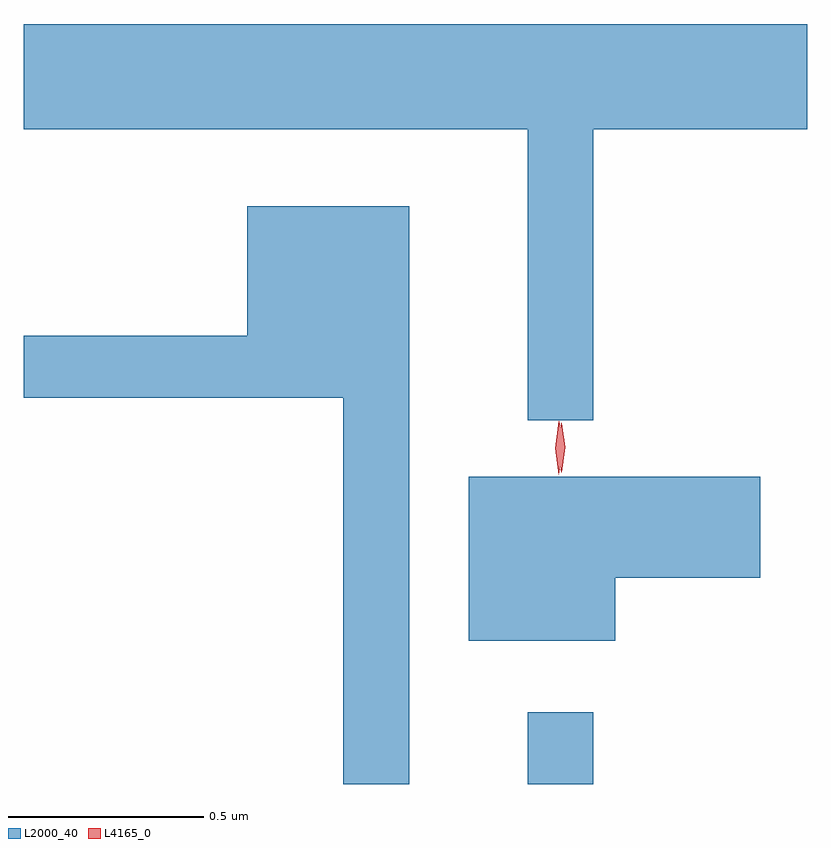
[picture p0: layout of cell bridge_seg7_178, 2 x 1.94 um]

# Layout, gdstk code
import gdstk
lib = gdstk.Library(unit=1e-6, precision=1e-09)
def R(c, l, rs):  # rectangles x0, y0, x1, y1
    for r in rs: c.add(gdstk.rectangle(r[:2], r[2:], *l))
def P(c, l, *ps):  # polygons
    for p in ps: c.add(gdstk.Polygon(p, *l))
L2000_40 = (2000, 40)
L4165_0 = (4165, 0)

bridge_seg7_178 = lib.new_cell('bridge_seg7_178')
R(bridge_seg7_178, L2000_40, [(1530.251,1717.085,1530.419,1717.268)])
P(bridge_seg7_178, L2000_40, [(1530.419,1718.756),(1530.965,1718.756),(1530.965,1719.024),(1528.965,1719.024),(1528.965,1718.756),(1530.251,1718.756),(1530.251,1718.013),(1530.419,1718.013)],
  [(1529.949,1718.559),(1529.536,1718.559),(1529.536,1718.229),(1528.965,1718.229),(1528.965,1718.071),(1529.781,1718.071),(1529.781,1717.085),(1529.949,1717.085)],
  [(1530.474,1717.611),(1530.844,1717.611),(1530.844,1717.869),(1530.101,1717.869),(1530.101,1717.451),(1530.474,1717.451)])
P(bridge_seg7_178, L4165_0, [(1530.33,1717.874),(1530.33,1717.874),(1530.321,1717.942),(1530.331,1718.01),(1530.332,1718.01),(1530.332,1718.01),(1530.341,1717.942),(1530.331,1717.874)],
  [(1530.337,1717.88),(1530.337,1717.88),(1530.327,1717.944),(1530.337,1718.006),(1530.337,1718.007),(1530.338,1718.006),(1530.347,1717.944),(1530.338,1717.88)])

lib.write_gds('bridge_seg7_178.gds')
